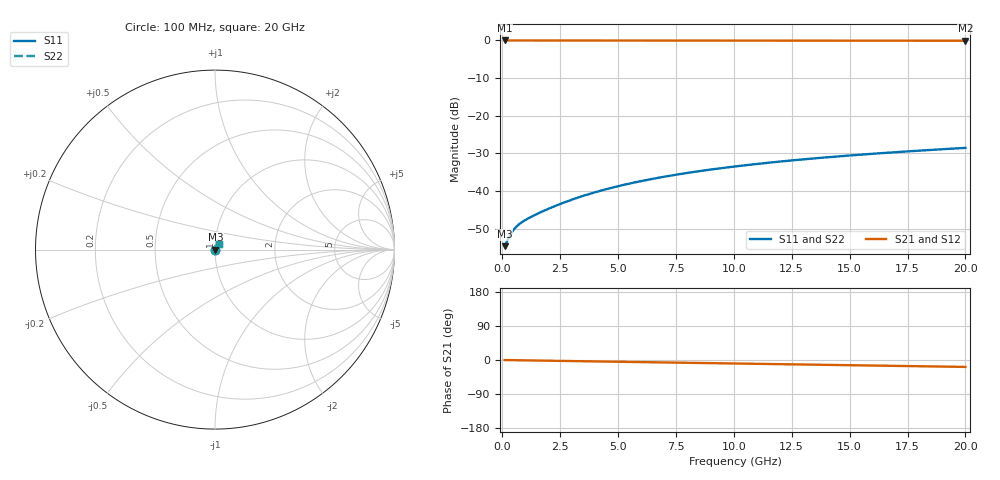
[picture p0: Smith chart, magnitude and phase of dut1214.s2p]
! Touchstone file exported from HFSS 2026.1.0
!  File:  C:/ffzhzh/LocalFiles/Ansys_Project_Files/temp_train_TMRDL_1214_1783163192_55132.aedt
!  Generated:  07:07:44 PM Jul  4, 2026
!  Design:  TMRDL
!  Project:  temp_train_TMRDL_1214_1783163192_55132
! Variables:
!  h_bsmrdl = 2um
!  h_ox = 20um
!  h_rdl = 5um
!  h_sub = 80um
!  h_tmrdl = 2.66um
!  h_tsv = 80um
!  h_via = 3um
!  l_bsmrdl = 300um
!  l_sub = 705.94um
!  l_tmrdl = 305.94um
!  m_sub = 200um
!  pitch = 34.58um
!  r_tsv = 6um
!  s_tmrdl = 10um
!  w_bsmrdl = 18um
!  w_sub = 500um
!  w_tmrdl = 29.22um
!  x_tsv_center1 = 320.55um
!  x_tsv_center2 = 638.55um
!  x_tsv_center3 = 973.71um
!  x_tsv_center4 = 1291.71um
!  x_tsv_center5 = 1626.87um
!  x_tsv_center6 = 1944.87um
# GHz S MA R 50.000000
! Terminal data exported
! Port[1] = TM_RDL1_1_T1
! Port[2] = TM_RDL1_1_T2
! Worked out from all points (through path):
!   200 points, 100 MHz to 20 GHz, reference 50 ohm
!   highest |S21| = -0.02 dB at 100 MHz (marker M1); lowest = -0.1 dB at 20 GHz (marker M2)
!   group delay of S21, straight-line fit = 2.53 ps
!   lowest |S11| = -54.7 dB at 100 MHz (marker M3), VSWR 1.00, Z = 50.2 + j0.05 ohm
!   |S11| at or under -10 dB: start of sweep to end of sweep
!   |S22| runs from -54.7 to -28.6 dB; largest |S21 - S12| = 6e-15
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0.1  0.001843 15.7  0.9982 -0.1  0.9982 -0.1  0.001843 15.7
! Gamma 0 0 0 0
! Port Impedance 50 0 50 0
0.3  0.002458 32.9  0.9979 -0.3  0.9979 -0.3  0.002458 32.8
0.4  0.002782 36.3  0.9977 -0.4  0.9977 -0.4  0.002782 36.3
0.5  0.003071 38.4  0.9975 -0.5  0.9975 -0.5  0.003072 38.3
0.6  0.003324 39.8  0.9974 -0.6  0.9974 -0.6  0.003325 39.8
0.7  0.003548 41.0  0.9973 -0.7  0.9973 -0.7  0.003548 40.9
0.9  0.003935 43.1  0.9971 -0.9  0.9971 -0.9  0.003935 43.1
1.3  0.004612 47.4  0.997 -1.2  0.997 -1.2  0.004612 47.4
2  0.005797 53.9  0.9968 -1.9  0.9968 -1.9  0.005797 53.9
2.7  0.007069 58.6  0.9966 -2.5  0.9966 -2.5  0.007069 58.6
3.5  0.008597 62.0  0.9964 -3.3  0.9964 -3.3  0.008597 62.0
4.2  0.009967 63.8  0.9962 -3.9  0.9962 -3.9  0.009967 63.8
5  0.01154 65.1  0.9959 -4.7  0.9959 -4.7  0.01154 65.1
5.9  0.01331 65.8  0.9956 -5.5  0.9956 -5.5  0.01331 65.8
6.8  0.01506 66.0  0.9953 -6.3  0.9953 -6.3  0.01506 66.0
8.4  0.0181 65.8  0.9947 -7.8  0.9947 -7.8  0.0181 65.8
10.1  0.02121 65.0  0.994 -9.3  0.994 -9.3  0.02121 65.0
11.7  0.02403 64.0  0.9934 -10.8  0.9934 -10.8  0.02403 64.0
13.4  0.02692 62.9  0.9927 -12.3  0.9927 -12.3  0.02692 62.9
15  0.02955 61.7  0.9921 -13.8  0.9921 -13.8  0.02954 61.7
16.7  0.03225 60.5  0.9915 -15.3  0.9915 -15.3  0.03225 60.5
20  0.03729 58.1  0.9904 -18.3  0.9904 -18.3  0.03728 58.1
